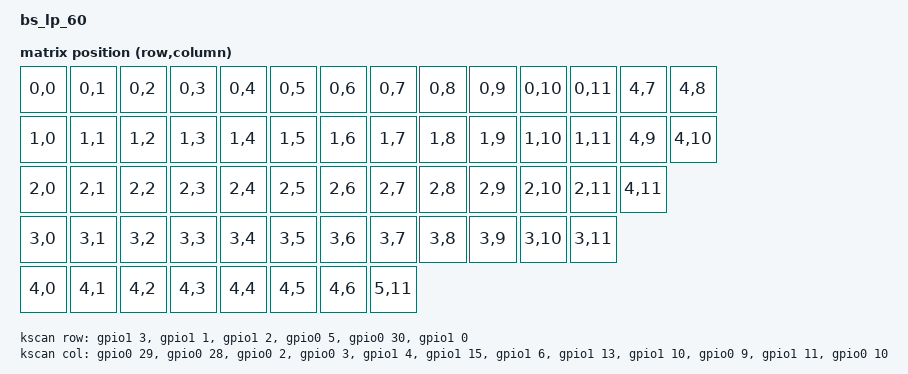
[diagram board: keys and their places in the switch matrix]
/*
 * Copyright (c) 2022 Pete Johanson
 *
 * SPDX-License-Identifier: MIT
 */

/dts-v1/;
#include <nordic/nrf52840_qiaa.dtsi>
#include <common/nordic/nrf52840_uf2_boot_mode.dtsi>
#include <dt-bindings/zmk/matrix_transform.h>

/ {
	model = "bs_lp_60";
	compatible = "petejohanson,bs_lp_60";
	chosen {
		zephyr,code-partition = &code_partition;
		zephyr,sram = &sram0;
		zephyr,flash = &flash0;
		zmk,kscan = &kscan;
		zmk,matrix_transform = &default_transform;
	};

	leds {
		compatible = "gpio-leds";
		blue_led: led_0 {
			gpios = <&gpio1 9 GPIO_ACTIVE_HIGH>;
		};
	};

	vbatt: vbatt {
		compatible = "zmk,battery-voltage-divider";
		io-channels = <&adc 7>;
		output-ohms = <2000000>;
		full-ohms = <(2000000 + 820000)>;
	};

	EXT_POWER {
		compatible = "zmk,ext-power-generic";
		control-gpios = <&gpio0 31 GPIO_ACTIVE_HIGH>;
		init-delay-ms = <50>;
	};

	default_transform: default_transform {
		compatible = "zmk,matrix-transform";
		rows = <6>;
		columns = <12>;

		map = <
	RC(0,0) RC(0,1) RC(0,2) RC(0,3) RC(0,4) RC(0,5) RC(0,6) RC(0,7) RC(0,8) RC(0,9) RC(0,10) RC(0,11) RC(4,7) RC(4,8)
	RC(1,0) RC(1,1) RC(1,2) RC(1,3) RC(1,4) RC(1,5) RC(1,6) RC(1,7) RC(1,8) RC(1,9) RC(1,10) RC(1,11) RC(4,9) RC(4,10)
	RC(2,0) RC(2,1) RC(2,2) RC(2,3) RC(2,4) RC(2,5) RC(2,6) RC(2,7) RC(2,8) RC(2,9) RC(2,10) RC(2,11) RC(4,11)
	RC(3,0) RC(3,1) RC(3,2) RC(3,3) RC(3,4) RC(3,5) RC(3,6) RC(3,7) RC(3,8) RC(3,9) RC(3,10) RC(3,11)
	RC(4,0) RC(4,1) RC(4,2) RC(4,3) RC(4,4) RC(4,5) RC(4,6) RC(5,11)

	>;
	};



	kscan: kscan {
		compatible = "zmk,kscan-gpio-matrix";
		debounce-press-ms = <1>;
		debounce-release-ms = <5>;

		diode-direction = "col2row";
		wakeup-source;
		col-gpios
			= <&gpio0 29 (GPIO_ACTIVE_HIGH)>
			, <&gpio0 28 (GPIO_ACTIVE_HIGH)>
			, <&gpio0 2 (GPIO_ACTIVE_HIGH)>
			, <&gpio0 3 (GPIO_ACTIVE_HIGH)>
			, <&gpio1 4 (GPIO_ACTIVE_HIGH)>
			, <&gpio1 15 (GPIO_ACTIVE_HIGH)>
			, <&gpio1 6 (GPIO_ACTIVE_HIGH)>
			, <&gpio1 13 (GPIO_ACTIVE_HIGH)>
			, <&gpio1 10 (GPIO_ACTIVE_HIGH)>
			, <&gpio0 9 (GPIO_ACTIVE_HIGH)>
			, <&gpio1 11 (GPIO_ACTIVE_HIGH)>
			, <&gpio0 10 (GPIO_ACTIVE_HIGH)>
			;
		row-gpios
			= <&gpio1 3  (GPIO_ACTIVE_HIGH | GPIO_PULL_DOWN)>
			, <&gpio1 1  (GPIO_ACTIVE_HIGH | GPIO_PULL_DOWN)>
			, <&gpio1 2 (GPIO_ACTIVE_HIGH | GPIO_PULL_DOWN)>
			, <&gpio0 5 (GPIO_ACTIVE_HIGH | GPIO_PULL_DOWN)>
			, <&gpio0 30 (GPIO_ACTIVE_HIGH | GPIO_PULL_DOWN)>
			, <&gpio1 0 (GPIO_ACTIVE_HIGH | GPIO_PULL_DOWN)>


			;
	};
};

&adc {
	status = "okay";
};

&gpiote {
	status = "okay";
};

&gpio0 {
	status = "okay";
};

&gpio1 {
	status = "okay";
};

zephyr_udc0: &usbd {
	status = "okay";
};

&flash0 {
	/*
	 * For more information, see:
	 * http://docs.zephyrproject.org/latest/devices/dts/flash_partitions.html
	 */
	partitions {
		compatible = "fixed-partitions";
		#address-cells = <1>;
		#size-cells = <1>;

		sd_partition: partition@0 {
			reg = <0x00000000 0x00001000>;
		};
		code_partition: partition@1000 {
			reg = <0x00001000 0x000d3000>;
		};

		storage_partition: partition@d4000 {
			reg = <0x000d4000 0x00020000>;
		};

		boot_partition: partition@f4000 {
			reg = <0x000f4000 0x0000c000>;
		};
	};
};
